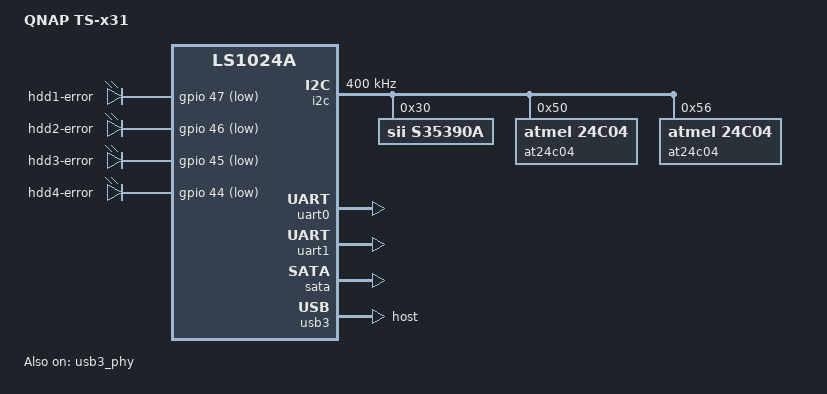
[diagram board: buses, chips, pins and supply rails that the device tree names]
// SPDX-License-Identifier: GPL-2.0
/dts-v1/;
#include "ls1024a.dtsi"
#include <dt-bindings/gpio/gpio.h>

/ {
	model = "QNAP TS-x31";
	compatible = "qnap,tsx31", "fsl,ls1024a";

	chosen {
		bootargs = "console=ttyS0,115200n8 earlyprintk";
		stdout-path = &uart1;
	};

	a9dp_opp_table: a9dp_opp_table {
		compatible = "operating-points-v2";
		opp-shared;

		opp-1200000000 {
			opp-hz = /bits/ 64 <1200000000>;
		};
		opp-600000000 {
			opp-hz = /bits/ 64 <600000000>;
		};
		opp-300000000 {
			opp-hz = /bits/ 64 <300000000>;
		};
	};

	soc {
		poweroff {
			compatible = "qnap,power-off";
			reg = <0x96300000 0x100000>;
			clocks = <&clkcore LS1024A_CLK_DUS>;
		};
	};

	leds {
		compatible = "gpio-leds";
		hdd1-error {
			gpios = <&gpio 47 GPIO_ACTIVE_LOW>;
		};
		hdd2-error {
			gpios = <&gpio 46 GPIO_ACTIVE_LOW>;
		};
		hdd3-error {
			gpios = <&gpio 45 GPIO_ACTIVE_LOW>;
		};
		hdd4-error {
			gpios = <&gpio 44 GPIO_ACTIVE_LOW>;
		};
	};
};

&cpu0 {
	operating-points-v2 = <&a9dp_opp_table>;
};
&cpu1 {
	operating-points-v2 = <&a9dp_opp_table>;
};

&i2c {
	clock-frequency = <400000>;
	status = "okay";

	s35390a@30 {
		compatible = "sii,s35390a";
		reg = <0x30>;
	};

	at24c04@50 {
		compatible = "atmel,24c04";
		reg = <0x50>;
		read-only;
	};

	at24c04@56 {
		compatible = "atmel,24c04";
		reg = <0x56>;
		read-only;
	};
};

&serdes0 {
	fsl,pcie-use-external-clk;
};

&serdes1 {
	fsl,pcie-use-external-clk;
	fsl,sata-txlev = <9>;
};

&uart0 {
	status = "okay";
};
&uart1 {
	status = "okay";

	pinctrl-names = "default";
	pinctrl-0 = <&pinctrl_uart1>;
};

&sata {
	ports-implemented = <3>;
	status = "okay";
};

&usb3_phy {
	status = "okay";
};

&usb3 {
	dr_mode = "host";
	status = "okay";
};
